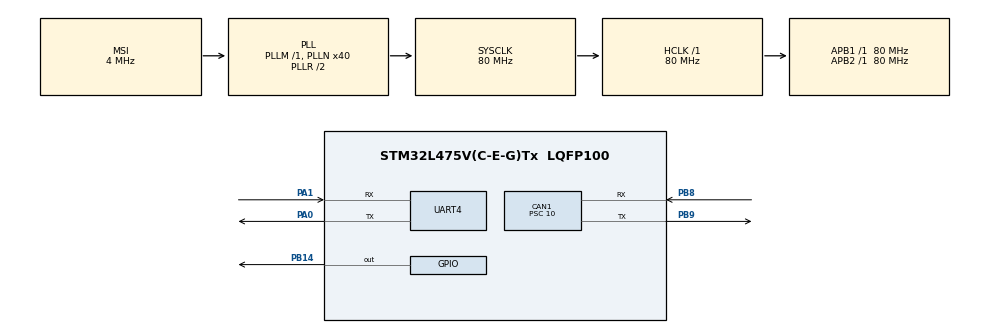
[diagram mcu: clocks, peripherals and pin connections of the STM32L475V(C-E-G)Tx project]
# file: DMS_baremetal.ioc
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CAN1.BS1=CAN_BS1_13TQ
CAN1.BS2=CAN_BS2_2TQ
CAN1.CalculateBaudRate=500000
CAN1.CalculateTimeBit=2000
CAN1.CalculateTimeQuantum=125.0
CAN1.Prescaler=10
Mcu.Family=STM32L4
Mcu.Name=STM32L475V(C-E-G)Tx
Mcu.Package=LQFP100
NVIC.CAN1_RX0_IRQn=true\:0\:0\:false\:false\:true\:true\:true\:true
NVIC.PriorityGroup=NVIC_PRIORITYGROUP_4
NVIC.TIM2_IRQn=true\:0\:0\:false\:false\:true\:true\:true\:true
NVIC.UART4_IRQn=true\:0\:0\:false\:false\:true\:true\:true\:true
PA0.Mode=Asynchronous
PA0.Signal=UART4_TX
PA1.Mode=Asynchronous
PA1.Signal=UART4_RX
PA13\ (JTMS-SWDIO).Mode=Serial_Wire
PA13\ (JTMS-SWDIO).Signal=SYS_JTMS-SWDIO
PA14\ (JTCK-SWCLK).Mode=Serial_Wire
PA14\ (JTCK-SWCLK).Signal=SYS_JTCK-SWCLK
PB14.Signal=GPIO_Output
PB8.Mode=CAN_Activate
PB8.Signal=CAN1_RX
PB9.Mode=CAN_Activate
PB9.Signal=CAN1_TX
PH0-OSC_IN\ (PH0).Mode=HSE-External-Oscillator
PH0-OSC_IN\ (PH0).Signal=RCC_OSC_IN
PH1-OSC_OUT\ (PH1).Mode=HSE-External-Oscillator
PH1-OSC_OUT\ (PH1).Signal=RCC_OSC_OUT
ProjectManager.HeapSize=0x200
ProjectManager.StackSize=0x400
ProjectManager.TargetToolchain=STM32CubeIDE
RCC.ADCFreq_Value=48000000
RCC.AHBFreq_Value=80000000
RCC.APB1Freq_Value=80000000
RCC.APB1TimFreq_Value=80000000
RCC.APB2Freq_Value=80000000
RCC.APB2TimFreq_Value=80000000
RCC.CortexFreq_Value=80000000
RCC.HCLKFreq_Value=80000000
RCC.HSE_VALUE=8000000
RCC.HSI_VALUE=16000000
RCC.LSE_VALUE=32768
RCC.MSI_VALUE=4000000
RCC.PLLN=40
RCC.PLLSAI1N=24
RCC.SYSCLKFreq_VALUE=80000000
RCC.SYSCLKSource=RCC_SYSCLKSOURCE_PLLCLK
RCC.USBFreq_Value=48000000
RCC.VCOOutputFreq_Value=160000000
TIM2.AutoReloadPreload=TIM_AUTORELOAD_PRELOAD_ENABLE
TIM2.Period=4999
TIM2.Prescaler=7999
VP_TIM2_VS_ClockSourceINT.Mode=Internal
board=B-L475E-IOT01A2

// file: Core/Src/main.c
/* USER CODE BEGIN Header */
/**
  ******************************************************************************
  * @file           : main.c
  * @brief          : Main program body
  ******************************************************************************
  * @attention
  *
  * Copyright (c) 2026 STMicroelectronics.
  * All rights reserved.
  *
  * This software is licensed under terms that can be found in the LICENSE file
  * in the root directory of this software component.
  * If no LICENSE file comes with this software, it is provided AS-IS.
  *
  ******************************************************************************
  */
/* USER CODE END Header */
#include "main.h"
#include "can.h"
#include "tim.h"
#include "usart.h"
#include "gpio.h"

/* USER CODE BEGIN PV */
volatile uint8_t last_seq = 0;
volatile uint8_t curr_seq = 0;
volatile uint8_t hb_fail_count = 0;
volatile uint8_t rpi_alive = 1;

uint8_t rx_byte = 0;
uint8_t rx_buf[4];
uint8_t rx_idx = 0;
uint8_t rx_state = 0;
volatile uint8_t driver_state = 0;

// LED 500ms 깜빡임용 카운터 (TIM2 주기*N = 500ms)
// TIM2가 500ms 주기라면 카운터 1번
volatile uint8_t led_toggle_flag = 0;

// DTC를 통해 CAN 버스에 rpi_alive=0을 명시적으로 알릴수있음(다른 ECU 등이 받을 수 있음.
volatile uint8_t dtc_sent = 0;

// 0x200 송신 주기 (100ms 루프 * 5 = 500ms)
volatile uint8_t hb_tx_counter = 0;
volatile uint8_t stm32_hb_count = 0; // 0x200, STM에 대한 Heartbeat -> Rpi5_navi

/* USER CODE END PV */

void SystemClock_Config(void);

int main(void)
{

  /* MCU Configuration--------------------------------------------------------*/

  /* Reset of all peripherals, Initializes the Flash interface and the Systick. */
  HAL_Init();

  /* Configure the system clock */
  SystemClock_Config();

  /* Initialize all configured peripherals */
  MX_GPIO_Init();
  MX_UART4_Init();
  MX_TIM2_Init();
  MX_CAN1_Init();
  /* USER CODE BEGIN 2 */
  // UART의 수신 시작점으로, 이걸 호출한 시점부터 이후 신호가 올때마다 인터럽트 콜백함수가 불린다.
  // HAL_UART_RxCpltCallback이 자동으로 불림
  // 한 번만 호출하면 되고, 이후로 재호출 되는 구조
  HAL_UART_Receive_IT(&huart4, &rx_byte, 1);

  // 타이머 및 인터럽트 시작 가이드
  HAL_TIM_Base_Start_IT(&htim2);

  CAN_TxHeaderTypeDef TxHeader;
  CAN_RxHeaderTypeDef RxHeader;
  uint8_t TxData[8] = {0x01, 0x02, 0x03};
  uint8_t RxData[8];
  uint32_t TxMailbox;

  HAL_CAN_Start(&hcan1);

  // Tx 설정
  TxHeader.StdId = 0x100;
  TxHeader.IDE = CAN_ID_STD;
  TxHeader.RTR = CAN_RTR_DATA;
  TxHeader.DLC = 3;
  TxHeader.TransmitGlobalTime = DISABLE;

  // 필터 설정(전체 수신)
  CAN_FilterTypeDef FilterConfig;
  FilterConfig.FilterBank = 0;
  FilterConfig.FilterMode = CAN_FILTERMODE_IDMASK;
  FilterConfig.FilterScale = CAN_FILTERSCALE_32BIT;
  FilterConfig.FilterIdHigh = 0x0000;
  FilterConfig.FilterIdLow = 0x0000;      // 추가
  FilterConfig.FilterMaskIdHigh = 0x0000; // 추가
  FilterConfig.FilterMaskIdLow = 0x0000;
  FilterConfig.FilterFIFOAssignment = CAN_RX_FIFO0;
  FilterConfig.FilterActivation = ENABLE;
  HAL_CAN_ConfigFilter(&hcan1, &FilterConfig);
  HAL_CAN_ActivateNotification(&hcan1, CAN_IT_RX_FIFO0_MSG_PENDING);
  /* USER CODE END 2 */

  /* Infinite loop */
  /* USER CODE BEGIN WHILE */
  while (1)
  {
	  // CAN Tx = driver_state + rpi_alive 같이 송신
	  TxData[0] = driver_state;
	  TxData[1] = rpi_alive;
	  TxData[2] = 0x00; // 예비용

	  HAL_CAN_AddTxMessage(&hcan1, &TxHeader, TxData, &TxMailbox);

	  // Failsafe : Rpi5 Heartbeat 단절 시 0x7DF 송출(DTC)
	  // rpi_alive가 0이 되는 순간(=AI 노드 다운)을 CAN으로 보고, 매 루프 보내면 버스가 시끄러우니
	  // "0으로 바뀌는 순간 1번" 만 송출함

	  if(rpi_alive == 0 && dtc_sent == 0)
	  {
		  CAN_TxHeaderTypeDef DtcHeader;
		  uint8_t DtcData[8] = {0xFF, 0x01, 0x02, 0x01, 0, 0, 0, 0};
		  uint32_t DtcMailbox;

		  DtcHeader.StdId = 0x7DF;
		  DtcHeader.IDE = CAN_ID_STD;
		  DtcHeader.RTR = CAN_RTR_DATA;
		  DtcHeader.DLC = 8;
		  DtcHeader.TransmitGlobalTime = DISABLE;

		  HAL_CAN_AddTxMessage(&hcan1, &DtcHeader, DtcData, &DtcMailbox);
		  dtc_sent = 1;
	  }

	  else if(rpi_alive == 1)
	  {
		  dtc_sent = 0;
	  }

	  if( rpi_alive == 0 )
	  {
		  if(led_toggle_flag)
		  {
			  led_toggle_flag = 0;
			  HAL_GPIO_TogglePin(GPIOB, GPIO_PIN_14);
		  }
	  }
	  else
	  {
		  switch(driver_state)
		  {
			  case 0:
				  HAL_GPIO_WritePin(GPIOB, GPIO_PIN_14, GPIO_PIN_RESET);
				  break;

			  case 1:
				  if(led_toggle_flag)
				  {
					  led_toggle_flag = 0;
					  HAL_GPIO_TogglePin(GPIOB, GPIO_PIN_14);
				  }
				  break;

			  case 2:
				  HAL_GPIO_WritePin(GPIOB, GPIO_PIN_14, GPIO_PIN_SET);
				  break;

			  default:
				  break;
		  }
	  }

	  hb_tx_counter++;
	  if(hb_tx_counter >= 5)
	  {
		  hb_tx_counter = 0;
		  stm32_hb_count++; // 롤오버 되는 카운터

		  CAN_TxHeaderTypeDef HbHeader;
		  uint8_t HbData[1] = {stm32_hb_count};
		  uint32_t HbMailbox;

		  HbHeader.StdId = 0x200;
		  HbHeader.IDE = CAN_ID_STD;
		  HbHeader.RTR = CAN_RTR_DATA;
		  HbHeader.DLC = 1;
		  HbHeader.TransmitGlobalTime = DISABLE;

		  HAL_CAN_AddTxMessage(&hcan1, &HbHeader, HbData, &HbMailbox);
	  }
	  HAL_Delay(100);
    /* USER CODE END WHILE */

  }
}

void SystemClock_Config(void)
{
  RCC_OscInitTypeDef RCC_OscInitStruct = {0};
  RCC_ClkInitTypeDef RCC_ClkInitStruct = {0};

  /** Configure the main internal regulator output voltage
  */
  if (HAL_PWREx_ControlVoltageScaling(PWR_REGULATOR_VOLTAGE_SCALE1) != HAL_OK)
  {
    Error_Handler();
  }

  /** Initializes the RCC Oscillators according to the specified parameters
  * in the RCC_OscInitTypeDef structure.
  */
  RCC_OscInitStruct.OscillatorType = RCC_OSCILLATORTYPE_MSI;
  RCC_OscInitStruct.MSIState = RCC_MSI_ON;
  RCC_OscInitStruct.MSICalibrationValue = 0;
  RCC_OscInitStruct.MSIClockRange = RCC_MSIRANGE_6;
  RCC_OscInitStruct.PLL.PLLState = RCC_PLL_ON;
  RCC_OscInitStruct.PLL.PLLSource = RCC_PLLSOURCE_MSI;
  RCC_OscInitStruct.PLL.PLLM = 1;
  RCC_OscInitStruct.PLL.PLLN = 40;
  RCC_OscInitStruct.PLL.PLLP = RCC_PLLP_DIV7;
  RCC_OscInitStruct.PLL.PLLQ = RCC_PLLQ_DIV2;
  RCC_OscInitStruct.PLL.PLLR = RCC_PLLR_DIV2;
  if (HAL_RCC_OscConfig(&RCC_OscInitStruct) != HAL_OK)
  {
    Error_Handler();
  }

  /** Initializes the CPU, AHB and APB buses clocks
  */
  RCC_ClkInitStruct.ClockType = RCC_CLOCKTYPE_HCLK|RCC_CLOCKTYPE_SYSCLK
                              |RCC_CLOCKTYPE_PCLK1|RCC_CLOCKTYPE_PCLK2;
  RCC_ClkInitStruct.SYSCLKSource = RCC_SYSCLKSOURCE_PLLCLK;
  RCC_ClkInitStruct.AHBCLKDivider = RCC_SYSCLK_DIV1;
  RCC_ClkInitStruct.APB1CLKDivider = RCC_HCLK_DIV1;
  RCC_ClkInitStruct.APB2CLKDivider = RCC_HCLK_DIV1;

  if (HAL_RCC_ClockConfig(&RCC_ClkInitStruct, FLASH_LATENCY_4) != HAL_OK)
  {
    Error_Handler();
  }
}

/* USER CODE BEGIN 4 */

// 인터럽트 콜백함수 작성
// UART가 여러개일 수 있으니 UART4 일때만 실행되도록 Instance랑 비교.
// UART4로 1바이트 수신 완료될 때마다 HAL이 자동으로 호출되는 구조 ?
void HAL_UART_RxCpltCallback(UART_HandleTypeDef *huart)
{
	if( huart->Instance == UART4 )
	{
		// 상태머신으로 프레임 파싱
		// 완성되면 driver_state 업데이트 할 것
		if(rx_state ==0)
		{
			if(rx_byte == 0xAA)
			{
				rx_state = 1;
				rx_idx =0;
			}
		}
		else if(rx_state == 1)
		{
			rx_buf[rx_idx++] = rx_byte; // rx_buf에 rx_byte 저장 후 rx_idx 1 증가
			if(rx_idx == 4) // rx_idx = 4가 되었는지 확인 -> 4개를 다 받았다는 소리
			{
				uint8_t calc = (0xAA + rx_buf[0] + rx_buf[1] + rx_buf[2]) & 0xFF; // CheckSum
				if(calc == rx_buf[3])
				{
					driver_state = rx_buf[0]; // 일치하면 driver_state = rx_buf[0]; 업데이트
					curr_seq = rx_buf[2];
				}
				rx_state = 0; // 다음 프레임 위해 rx_state를 0으로 리셋
			}
		}
		HAL_UART_Receive_IT(huart, &rx_byte, 1); // 다음 바이트 대기
	}
}

void HAL_TIM_PeriodElapsedCallback(TIM_HandleTypeDef * htim)
{
	if(htim -> Instance == TIM2)
	{
		// Heartbeat 검사
		if( curr_seq == last_seq )
		{
			hb_fail_count++;
		}
		else
		{
			hb_fail_count =0;
			rpi_alive = 1;
			last_seq = curr_seq; // 중요
		}

		if(hb_fail_count >= 3)
		{
			rpi_alive = 0;
		}

		// LED 토글 플레그 세팅, TIM2 주기마다 플래그 울림 -> while에서 처리
		led_toggle_flag = 1;
	}
}

void HAL_CAN_RxFifo0MsgPendingCallback(CAN_HandleTypeDef *hcan)
{
	CAN_RxHeaderTypeDef RxHeader;
	uint8_t RxData[8];

	if(HAL_CAN_GetRxMessage(hcan, CAN_RX_FIFO0, &RxHeader, RxData) == HAL_OK)
	{
		switch (RxHeader.StdId)
		{
			case 0x101:
				// 필요 시 ack 수신 플래그 처리 ( 현재는 수신 확인만)
				break;

			case 0x102:
				HAL_GPIO_TogglePin(GPIOB, GPIO_PIN_14);
				break;

			default:
				break;
		}
	}
}
/* USER CODE END 4 */

void Error_Handler(void)
{
  __disable_irq();
  while (1)
  {
  }
}
